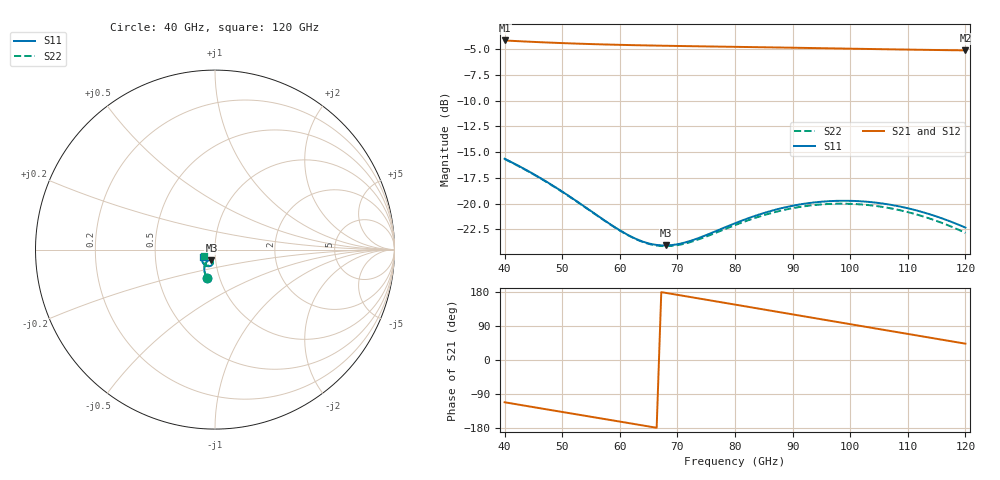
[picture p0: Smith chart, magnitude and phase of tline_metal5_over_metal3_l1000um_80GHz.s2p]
#  GHZ S DB R 50
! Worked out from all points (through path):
!   101 points, 40 GHz to 120 GHz, reference 50 ohm
!   highest |S21| = -4.13 dB at 40 GHz (marker M1); lowest = -5.1 dB at 120 GHz (marker M2)
!   group delay of S21, straight-line fit = 7.14 ps
!   lowest |S11| = -24.1 dB at 68 GHz (marker M3), VSWR 1.13, Z = 47.7 - j5.68 ohm
!   |S11| at or under -10 dB: start of sweep to end of sweep
!   |S22| runs from -24.1 to -15.7 dB; largest |S21 - S12| = 6.9e-14
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40  -15.64 -105.1  -4.13 -111.5  -4.13 -111.5  -15.67 -105.0
43.2  -16.56 -111.1  -4.22 -119.7  -4.22 -119.7  -16.59 -111.1
47.2  -17.84 -117.5  -4.33 -130.0  -4.33 -130.0  -17.88 -117.6
53.6  -20.19 -123.8  -4.46 -146.3  -4.46 -146.3  -20.21 -124.0
57.6  -21.73 -124.0  -4.52 -156.4  -4.52 -156.4  -21.76 -124.3
61.6  -23.10 -120.4  -4.58 -166.6  -4.58 -166.6  -23.14 -121.0
64.8  -23.84 -115.0  -4.62 -174.8  -4.62 -174.8  -23.88 -115.8
67.2  -24.06 -110.2  -4.64 179.1  -4.64 179.1  -24.13 -111.1
68  -24.07 -108.6  -4.65 177.1  -4.65 177.1  -24.14 -109.6
70.4  -23.91 -104.3  -4.67 170.9  -4.67 170.9  -24.00 -105.3
73.6  -23.37 -100.3  -4.70 162.7  -4.70 162.7  -23.50 -101.3
80  -21.92 -98.9  -4.75 146.2  -4.75 146.2  -22.09 -100.0
84  -21.10 -101.6  -4.79 135.9  -4.79 135.9  -21.30 -102.7
87.2  -20.57 -105.0  -4.81 127.6  -4.81 127.6  -20.79 -106.1
90.4  -20.17 -109.1  -4.84 119.4  -4.84 119.4  -20.41 -110.3
93.6  -19.90 -113.7  -4.87 111.1  -4.87 111.1  -20.15 -114.9
96.8  -19.75 -118.6  -4.90 102.8  -4.90 102.8  -20.02 -119.8
100  -19.73 -123.6  -4.93 94.6  -4.93 94.6  -20.02 -124.8
103.2  -19.83 -128.5  -4.96 86.3  -4.96 86.3  -20.15 -129.9
107.2  -20.13 -134.5  -5.00 76.0  -5.00 76.0  -20.48 -135.9
113.6  -21.00 -143.0  -5.05 59.6  -5.05 59.6  -21.42 -144.4
120  -22.33 -148.7  -5.10 43.1  -5.10 43.1  -22.84 -150.1
